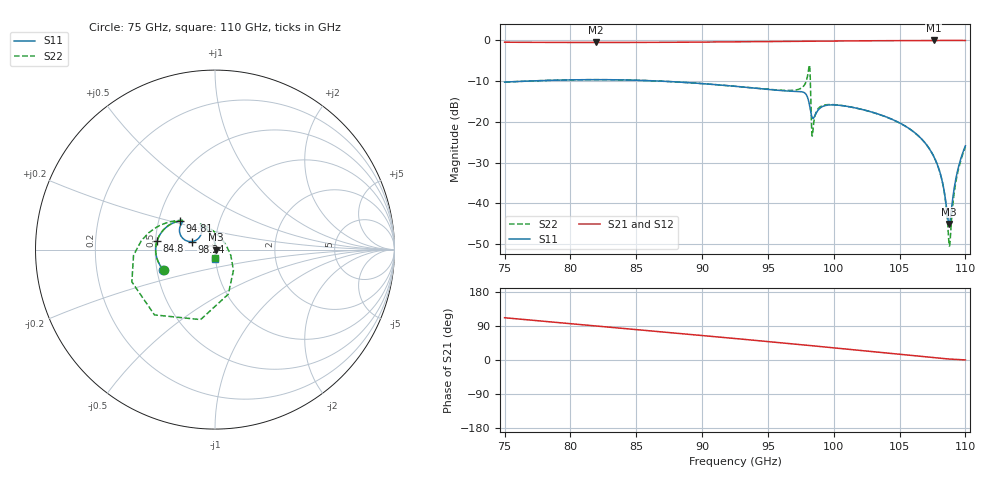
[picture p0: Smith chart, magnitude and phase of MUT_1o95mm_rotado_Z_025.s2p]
! TOUCHSTONE file generated by CST MICROWAVE STUDIO
! Date and time: Fri Feb 16 12:03:39 2024
! Project name: material_rotado.cst
! Parameters = {angX=0.25; angY=0.75}
! Header version: 2018
! Port assignment regex: !\s*Touchstone port\s*([0-9]+)\s*=\s*(CST MWS port|CST DS port)\s*([0-9]+|Zmin|Zmax)\s*\(\"(.*)\"\)(\s*mode\s*([0-9]+))?.*
! Touchstone port assignment:
! Touchstone port 1 = CST MWS port 1 ("")
! Touchstone port 2 = CST MWS port 2 ("")
# GHz S MA R 376.7
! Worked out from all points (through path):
!   1001 points, 75 GHz to 110 GHz, reference 376.7 ohm
!   highest |S21| = 0.00 dB at 107.6 GHz (marker M1); lowest = -0.5 dB at 81.97 GHz (marker M2)
!   group delay of S21, straight-line fit = 8.96 ps
!   lowest |S11| = -45.0 dB at 108.8 GHz (marker M3), VSWR 1.01, Z = 381 + j0.0262 ohm
!   |S11| at or under -10 dB: start of sweep to 76.52 GHz; 87 GHz to end of sweep
!   |S22| runs from -50.5 to -6.1 dB; largest |S21 - S12| = 0.0018
!   S11 on the Smith chart (normalised r, x): 75 GHz: 0.54, -0.14; 84.8 GHz: 0.51, +0.06; 94.81 GHz: 0.64, +0.22; 98.24 GHz: 0.77, +0.07; 110 GHz: 1.00, -0.10
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75  0.3084 -158.5  0.9513 111.5  0.9512 111.5  0.3084 -158.5
80.845  0.3297 -175.9  0.9443 93.3  0.9443 93.3  0.3298 -175.9
81.965  0.3304 -179.5  0.9441 89.8  0.9441 89.8  0.3304 -179.5
84.8  0.3259 171.1  0.9454 81.0  0.9454 81.0  0.3259 171.0
86.69  0.3179 164.8  0.9478 75.1  0.9478 75.1  0.3178 164.7
92.5  0.2739 146.8  0.9617 56.7  0.9617 56.7  0.2739 146.6
94.81  0.2526 141.1  0.9691 49.3  0.9691 49.3  0.2532 140.7
97.75  0.2295 149.3  0.9786 39.6  0.9786 39.6  0.2805 145.5
98.03  0.1962 159.8  0.9794 38.7  0.9794 38.7  0.3802 165.6
98.24  0.1363 160.7  0.9801 38.0  0.9801 38.0  0.2595 -73.5
98.345  0.1149 151.1  0.9804 37.7  0.9804 37.7  0.06759 16.8
98.485  0.1128 135.3  0.9808 37.2  0.9808 37.2  0.0991 91.9
98.905  0.1452 121.7  0.9821 35.8  0.9821 35.8  0.1507 115.2
100.62  0.1588 119.1  0.9867 30.0  0.9867 30.0  0.1591 119.1
104.19  0.1119 109.5  0.9936 17.9  0.9936 17.9  0.1117 110.2
106.255  0.07154 101.0  0.9969 10.7  0.9969 10.7  0.07147 102.4
107.585  0.03806 91.4  1 6.1  1 6.1  0.03816 94.7
108.25  0.01841 78.8  1 4.0  1 4.0  0.0184 86.6
108.775  0.005616 0.4  1 2.5  1 2.5  0.002991 13.2
108.915  0.007801 -41.2  1 2.2  1 2.2  0.005377 -54.7
109.37  0.02377 -76.4  1 1.4  1 1.4  0.02212 -83.1
110  0.05097 -88.2  0.9987 0.2  0.9993 0.1  0.04914 -91.8
